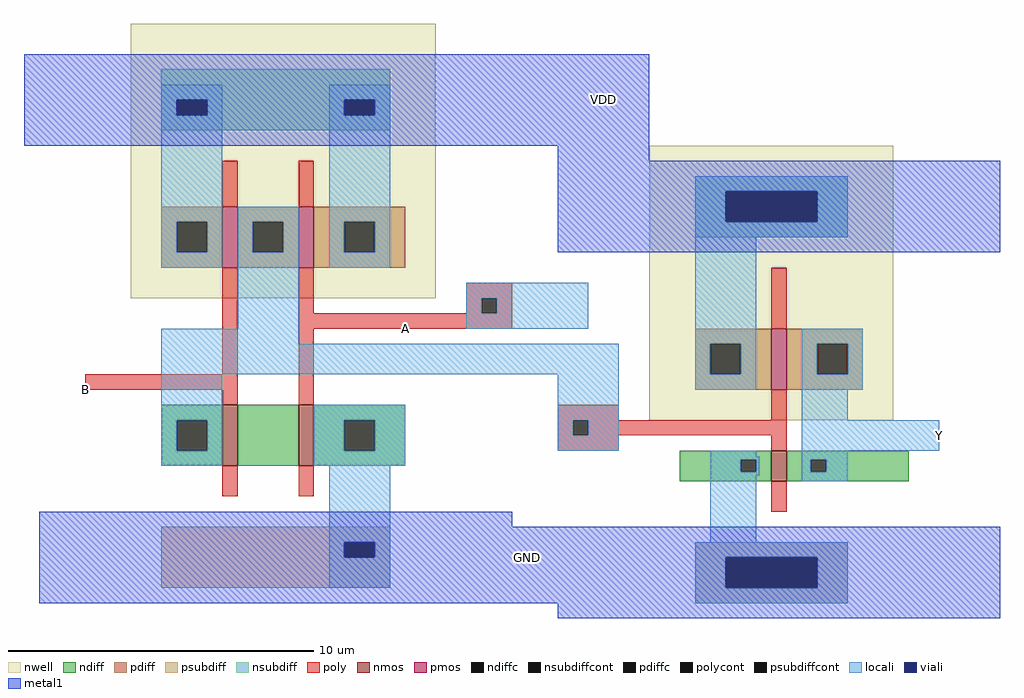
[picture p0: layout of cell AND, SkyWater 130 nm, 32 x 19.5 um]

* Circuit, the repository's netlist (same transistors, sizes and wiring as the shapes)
* NGSPICE file created from AND.ext - technology: sky130A

.subckt inverter A Y VDD GND
X0 Y A GND GND sky130_fd_pr__nfet_01v8 ad=4 pd=10 as=3 ps=8 w=1 l=0.5
X1 Y A VDD VDD sky130_fd_pr__pfet_01v8 ad=5 pd=9 as=5 ps=9 w=2 l=0.5
.ends

.subckt NAND A B Y VDD GND
X0 VDD A Y VDD sky130_fd_pr__pfet_01v8 ad=6 pd=10 as=2 ps=4 w=2 l=0.5
X1 GND A a_n200_n1400# GND sky130_fd_pr__nfet_01v8 ad=6 pd=10 as=2 ps=4 w=2 l=0.5
X2 Y B VDD VDD sky130_fd_pr__pfet_01v8 ad=2 pd=4 as=4 ps=8 w=2 l=0.5
X3 a_n200_n1400# B Y GND sky130_fd_pr__nfet_01v8 ad=2 pd=4 as=4 ps=8 w=2 l=0.5
.ends

.subckt AND A B VDD Y GND
Xinverter_0 NAND_0/Y Y VDD GND inverter
XNAND_0 A B NAND_0/Y VDD GND NAND
.ends

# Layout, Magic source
magic
tech sky130A
<< poly >>
rect -300 1050 -150 1100
rect -300 1000 -250 1050
rect -200 1000 -150 1050
rect -850 950 -150 1000
rect -1550 750 -1100 800
rect 0 650 200 700
rect 0 600 50 650
rect 100 600 700 650
rect 0 550 200 600
<< polycont >>
rect -250 1000 -200 1050
rect 50 600 100 650
<< locali >>
rect -300 1050 100 1100
rect -300 1000 -250 1050
rect -200 1000 100 1050
rect -300 950 100 1000
rect -850 800 200 900
rect 0 650 200 800
rect 0 600 50 650
rect 100 600 200 650
rect 0 550 200 600
rect 800 550 1250 650
<< metal1 >>
rect -200 1550 300 1850
rect 0 1500 300 1550
rect -150 50 0 300
use inverter  inverter_0
transform 1 0 650 0 1 600
box -650 -600 800 950
use NAND  NAND_0
transform 1 0 -950 0 1 1200
box -800 -1150 800 750
<< labels >>
rlabel poly -1550 750 -1550 750 1 B
port 2 n signal input
rlabel poly -500 950 -500 950 1 A
port 1 n signal input
rlabel locali 1250 600 1250 600 1 Y
port 4 n signal output
rlabel metal1 150 1700 150 1700 1 VDD
port 3 n power bidirectional
rlabel metal1 -100 200 -100 200 1 GND
port 5 n ground bidirectional
<< end >>

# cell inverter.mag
magic
tech sky130A
<< nwell >>
rect -350 50 450 950
<< nmos >>
rect 50 -150 100 -50
<< pmos >>
rect 50 150 100 350
<< ndiff >>
rect -250 -80 50 -50
rect -250 -120 -50 -80
rect 0 -120 50 -80
rect -250 -150 50 -120
rect 100 -80 500 -50
rect 100 -120 180 -80
rect 230 -120 500 -80
rect 100 -150 500 -120
<< pdiff >>
rect -200 300 50 350
rect -200 200 -150 300
rect -50 200 50 300
rect -200 150 50 200
rect 100 300 350 350
rect 100 200 200 300
rect 300 200 350 300
rect 100 150 350 200
<< ndiffc >>
rect -50 -120 0 -80
rect 180 -120 230 -80
<< pdiffc >>
rect -150 200 -50 300
rect 200 200 300 300
<< psubdiff >>
rect -200 -400 300 -350
rect -200 -500 -100 -400
rect 200 -500 300 -400
rect -200 -550 300 -500
<< nsubdiff >>
rect -200 800 300 850
rect -200 700 -100 800
rect 200 700 300 800
rect -200 650 300 700
<< psubdiffcont >>
rect -100 -500 200 -400
<< nsubdiffcont >>
rect -100 700 200 800
<< poly >>
rect 50 350 100 550
rect 50 -50 100 150
rect 50 -250 100 -150
<< locali >>
rect -200 800 300 850
rect -200 700 -100 800
rect 200 700 300 800
rect -200 650 300 700
rect -200 300 0 650
rect -200 200 -150 300
rect -50 200 0 300
rect -200 150 0 200
rect 150 300 350 350
rect 150 200 200 300
rect 300 200 350 300
rect 150 150 350 200
rect -150 -70 0 -50
rect -150 -80 10 -70
rect -150 -120 -50 -80
rect 0 -120 10 -80
rect -150 -130 10 -120
rect 150 -80 300 150
rect 150 -120 180 -80
rect 230 -120 300 -80
rect -150 -350 0 -130
rect 150 -150 300 -120
rect -200 -400 300 -350
rect -200 -500 -100 -400
rect 200 -500 300 -400
rect -200 -550 300 -500
<< viali >>
rect -100 700 200 800
rect -100 -500 200 -400
<< metal1 >>
rect -650 800 800 900
rect -650 700 -100 800
rect 200 700 800 800
rect -650 600 800 700
rect -650 -400 800 -300
rect -650 -500 -100 -400
rect 200 -500 800 -400
rect -650 -600 800 -500
<< labels >>
rlabel poly 50 -250 50 -250 7 A
port 1 w
rlabel locali 300 0 300 0 3 Y
port 2 e
rlabel metal1 50 900 50 900 7 VDD
port 3 w
rlabel metal1 50 -600 50 -600 7 GND
port 4 w
<< end >>

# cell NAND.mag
magic
tech sky130A
<< nwell >>
rect -450 -150 550 750
<< nmos >>
rect -150 -700 -100 -500
rect 100 -700 150 -500
<< pmos >>
rect -150 -50 -100 150
rect 100 -50 150 150
<< ndiff >>
rect -350 -550 -150 -500
rect -350 -650 -300 -550
rect -200 -650 -150 -550
rect -350 -700 -150 -650
rect -100 -700 100 -500
rect 150 -550 450 -500
rect 150 -650 250 -550
rect 350 -650 450 -550
rect 150 -700 450 -650
<< pdiff >>
rect -350 100 -150 150
rect -350 0 -300 100
rect -200 0 -150 100
rect -350 -50 -150 0
rect -100 100 100 150
rect -100 0 -50 100
rect 50 0 100 100
rect -100 -50 100 0
rect 150 100 450 150
rect 150 0 250 100
rect 350 0 450 100
rect 150 -50 450 0
<< ndiffc >>
rect -300 -650 -200 -550
rect 250 -650 350 -550
<< pdiffc >>
rect -300 0 -200 100
rect -50 0 50 100
rect 250 0 350 100
<< psubdiff >>
rect -350 -950 400 -900
rect -350 -1000 250 -950
rect 350 -1000 400 -950
rect -350 -1100 400 -1000
<< nsubdiff >>
rect -350 500 400 600
rect -350 450 -300 500
rect -200 450 250 500
rect 350 450 400 500
rect -350 400 400 450
<< psubdiffcont >>
rect 250 -1000 350 -950
<< nsubdiffcont >>
rect -300 450 -200 500
rect 250 450 350 500
<< poly >>
rect -150 150 -100 300
rect 100 150 150 300
rect -150 -500 -100 -50
rect 100 -500 150 -50
rect -150 -800 -100 -700
rect 100 -800 150 -700
<< locali >>
rect -350 500 -150 550
rect -350 450 -300 500
rect -200 450 -150 500
rect -350 100 -150 450
rect 200 500 400 550
rect 200 450 250 500
rect 350 450 400 500
rect -350 0 -300 100
rect -200 0 -150 100
rect -350 -50 -150 0
rect -100 100 100 150
rect -100 0 -50 100
rect 50 0 100 100
rect -100 -250 100 0
rect 200 100 400 450
rect 200 0 250 100
rect 350 0 400 100
rect 200 -50 400 0
rect -350 -400 100 -250
rect -350 -550 -150 -400
rect -350 -650 -300 -550
rect -200 -650 -150 -550
rect -350 -700 -150 -650
rect 150 -550 450 -500
rect 150 -650 250 -550
rect 350 -650 450 -550
rect 150 -700 450 -650
rect 200 -950 400 -700
rect 200 -1000 250 -950
rect 350 -1000 400 -950
rect 200 -1100 400 -1000
<< viali >>
rect -300 450 -200 500
rect 250 450 350 500
rect 250 -1000 350 -950
<< metal1 >>
rect -800 500 750 650
rect -800 450 -300 500
rect -200 450 250 500
rect 350 450 750 500
rect -800 350 750 450
rect -750 -950 800 -850
rect -750 -1000 250 -950
rect 350 -1000 800 -950
rect -750 -1150 800 -1000
<< labels >>
rlabel poly 120 -230 120 -230 7 A
port 1 w
rlabel poly -140 -190 -140 -190 7 B
port 2 w
rlabel locali -10 -220 -10 -220 3 Y
port 3 e
rlabel metal1 190 590 190 590 7 VDD
port 4 w
rlabel metal1 130 -1080 130 -1080 7 GND
port 5 w
<< end >>
